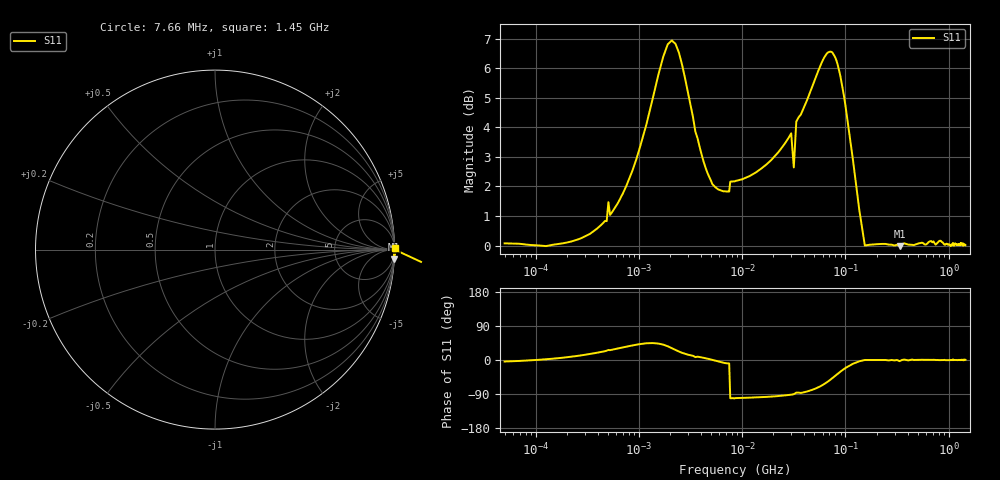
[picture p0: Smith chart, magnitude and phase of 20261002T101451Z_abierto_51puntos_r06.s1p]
! piloto_saltos / abierto_51puntos / r06
# HZ S RI R 50
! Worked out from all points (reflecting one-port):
!   251 points, 50 kHz to 1.45 GHz, reference 50 ohm
!   lowest |S11| = 0.0 dB at 334 MHz (marker M1), VSWR 780.59, Z = 87.4 - j1.84e+03 ohm
!   phase of S11 starts at -4 deg and turns +5 deg over the sweep
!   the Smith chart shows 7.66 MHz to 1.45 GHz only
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50000  1.006 -0.0699
183000  1.003 0.106
354000  1.008 0.3074
658000  1.021 0.6306
1180000  1.15 1.116
1720000  1.587 1.357
2080000  1.9 1.156
2440000  1.961 0.8061
3520000  1.544 0.2062
5140000  1.27 0.00526
7480000  1.219 -0.1933
7660000  -0.2429 -1.259
8560000  -0.2345 -1.264
1.72e7  -0.1759 -1.361
2.98e7  -0.0401 -1.548
3.16e7  -0.00501 -1.356
3.34e7  0.1094 -1.617
3.7e7  0.0884 -1.664
4.6e7  0.3128 -1.801
6.4e7  1.005 -1.84
7.3e7  1.37 -1.628
8.56e7  1.644 -1.135
9.82e7  1.628 -0.6737
1.18e8  1.378 -0.2432
1.54e8  1 0.000361
3.34e8  0.996 -0.0539
4.06e8  1.003 -0.0175
1.45e9  1.001 0.0095
